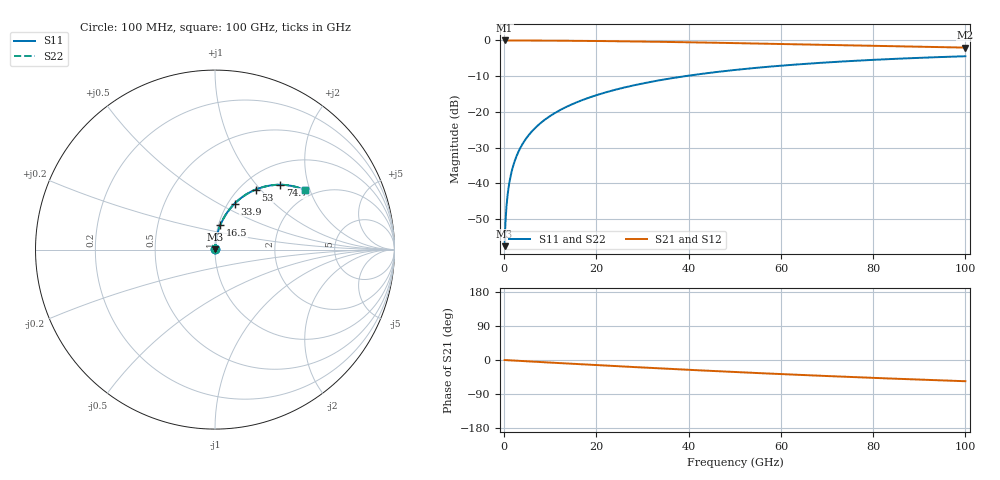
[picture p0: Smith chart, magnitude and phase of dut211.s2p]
! Touchstone file exported from HFSS 2026.1.0
!  File:  C:/ffzhzh/LocalFiles/Ansys_Project_Files/temp_train_RDL_211_1783500853_9504.aedt
!  Generated:  04:55:17 PM Jul  8, 2026
!  Design:  RDL
!  Project:  temp_train_RDL_211_1783500853_9504
! Variables:
!  h_bsmrdl = 2um
!  h_ox = 20um
!  h_rdl = 5um
!  h_sub = 80um
!  h_tmrdl = 3.41um
!  h_tsv = 80um
!  h_via = 3um
!  l_bsmrdl = 300um
!  l_sub = 518.45um
!  l_tmrdl = 118.45um
!  m_sub = 200um
!  pitch = 58.49um
!  r_tsv = 6um
!  s_tmrdl = 10um
!  w_bsmrdl = 18um
!  w_sub = 500um
!  w_tmrdl = 16.84um
!  x_tsv_center1 = 126.87um
!  x_tsv_center2 = 444.87um
!  x_tsv_center3 = 580.16um
!  x_tsv_center4 = 898.16um
!  x_tsv_center5 = 1033.45um
!  x_tsv_center6 = 1351.45um
# GHz S MA R 50.000000
! Terminal data exported
! Port[1] = TM_RDL1_1_T1
! Port[2] = TM_RDL1_1_T2
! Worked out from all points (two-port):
!   1000 points, 100 MHz to 100 GHz, reference 50 ohm
!   highest |S21| = -0.01 dB at 100 MHz (marker M1); lowest = -2.0 dB at 100 GHz (marker M2)
!   |S21| within 3 dB of the highest: start of sweep to end of sweep
!   lowest |S11| = -57.6 dB at 100 MHz (marker M3), VSWR 1.00, Z = 50.1 + j0.0932 ohm
!   |S11| at or under -10 dB: start of sweep to 39.27 GHz
!   |S22| runs from -57.6 to -4.4 dB; largest |S21 - S12| = 5.1e-15
!   S11 on the Smith chart (normalised r, x): 100 MHz: 1.00, +0.00; 16.5 GHz: 1.02, +0.29; 33.9 GHz: 1.07, +0.60; 53 GHz: 1.18, +0.94; 74.7 GHz: 1.38, +1.35; 100 GHz: 1.78, +1.85
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0.1  0.001315 45.0  0.9991 -0.1  0.9991 -0.1  0.001315 45.0
! Gamma 0 0 0 0
! Port Impedance 50 0 50 0
0.4  0.003798 74.4  0.999 -0.3  0.999 -0.3  0.003798 74.4
0.8  0.0073 81.0  0.9989 -0.6  0.9989 -0.6  0.0073 81.0
1.1  0.009941 82.8  0.9988 -0.8  0.9988 -0.8  0.009941 82.8
1.4  0.01259 83.9  0.9988 -1.0  0.9988 -1.0  0.01259 83.9
1.9  0.01702 84.7  0.9987 -1.3  0.9987 -1.3  0.01702 84.7
2.4  0.02144 85.1  0.9985 -1.7  0.9985 -1.7  0.02144 85.1
3.9  0.0347 85.0  0.998 -2.7  0.998 -2.7  0.0347 85.0
6  0.05312 84.1  0.9969 -4.1  0.9969 -4.1  0.05312 84.1
8.7  0.07653 82.5  0.995 -5.9  0.995 -5.9  0.07653 82.5
12.2  0.1064 80.3  0.9917 -8.3  0.9917 -8.3  0.1064 80.3
16.5  0.1424 77.6  0.9867 -11.1  0.9867 -11.1  0.1424 77.6
16.8  0.1449 77.4  0.9863 -11.3  0.9863 -11.3  0.1449 77.5
24.2  0.2046 72.8  0.9751 -16.1  0.9751 -16.1  0.2046 72.9
33.4  0.2746 67.2  0.9572 -21.9  0.9572 -21.9  0.2746 67.2
33.9  0.2782 66.9  0.9562 -22.2  0.9562 -22.2  0.2782 66.9
50.1  0.3863 57.5  0.9173 -31.7  0.9173 -31.7  0.3863 57.5
53  0.4036 55.9  0.9098 -33.4  0.9098 -33.4  0.4036 55.9
66.7  0.4766 48.7  0.8737 -40.6  0.8737 -40.6  0.4766 48.7
74.7  0.5129 44.8  0.853 -44.6  0.853 -44.6  0.5129 44.8
83.4  0.5475 40.7  0.8313 -48.7  0.8313 -48.7  0.5475 40.7
100  0.6006 33.5  0.7939 -56.0  0.7939 -56.0  0.6006 33.5
